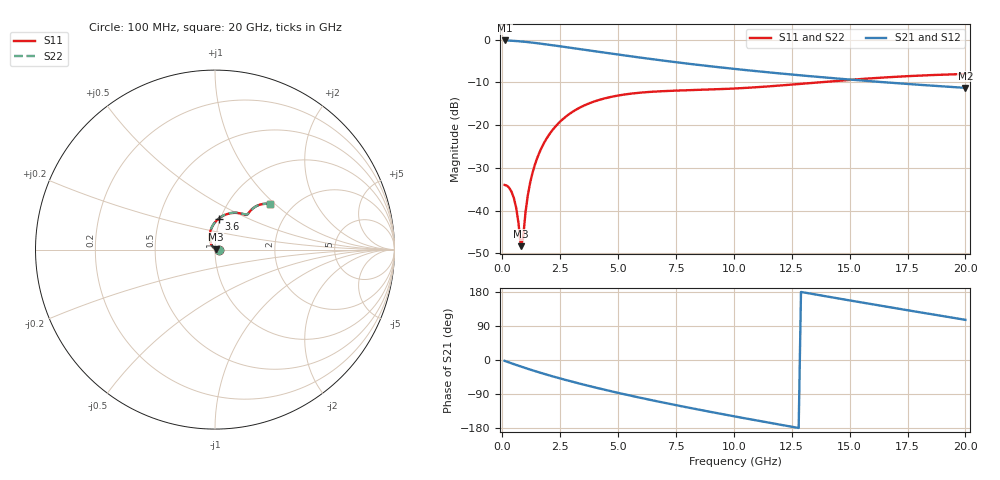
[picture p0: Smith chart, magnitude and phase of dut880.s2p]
! Touchstone file exported from HFSS 2024.1.0
!  File:  C:/UserFiles/LocalFiles/RDL_TSV_Batchsim/temp_RDL_TSV_880_1779929504.aedt
!  Generated:  09:07:09 AM May 28, 2026
!  Design:  RDL_TSV
!  Project:  temp_RDL_TSV_880_1779929504
!  Setup:  Setup1
!  Solution:  Sweep
! Variables:
!  dtsv = 14.95um
!  hbump = 3um
!  htsv = 77.26um
!  ldown = 387.72um
!  lrdl = 566.89um
!  p = 40
!  p1 = 43.4um
!  rhole = 10um
!  subl = 3430.72um
!  t = 450um
!  tdown = 4.4um
!  trdl = 4.41um
!  viad = 10um
!  wdown = 24.57um
!  wrdl = 11.13um
!  xbump = 18um
# GHz S MA R 50.000000
! Terminal data exported
! Port[1] = TM1_1_T1
! Port[2] = TM1_4_T1
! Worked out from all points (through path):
!   200 points, 100 MHz to 20 GHz, reference 50 ohm
!   highest |S21| = -0.18 dB at 100 MHz (marker M1); lowest = -11.3 dB at 20 GHz (marker M2)
!   group delay of S21, straight-line fit = 33.5 ps
!   lowest |S11| = -48.3 dB at 800 MHz (marker M3), VSWR 1.01, Z = 50.3 + j0.215 ohm
!   |S11| at or under -10 dB: start of sweep to 13.63 GHz
!   |S22| runs from -48.4 to -8.0 dB; largest |S21 - S12| = 1e-14
!   S11 on the Smith chart (normalised r, x): 100 MHz: 1.04, -0.00; 3.6 GHz: 0.98, +0.35; 20 GHz: 1.55, +0.93
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0.1  0.01997 -0.3  0.9793 -2.2  0.9793 -2.2  0.01997 -0.3
! Gamma 0 0 0 0
! Port Impedance 50 0 50 0
0.3  0.01846 -3.1  0.975 -6.6  0.975 -6.6  0.01846 -3.1
0.5  0.014 -5.7  0.9683 -10.9  0.9683 -10.9  0.01398 -5.7
0.6  0.01078 -4.6  0.9642 -13.0  0.9642 -13.0  0.01074 -4.5
0.7  0.007121 2.4  0.9596 -15.1  0.9596 -15.1  0.007074 2.5
0.8  0.003836 33.8  0.9545 -17.2  0.9545 -17.2  0.0038 34.7
0.9  0.004771 101.0  0.949 -19.2  0.949 -19.2  0.004821 101.8
1  0.009411 122.5  0.9431 -21.2  0.9431 -21.2  0.0095 122.8
1.2  0.02101 128.4  0.9305 -25.2  0.9305 -25.2  0.02115 128.5
1.4  0.03394 126.1  0.9169 -29.1  0.9169 -29.1  0.03412 126.2
1.6  0.04761 122.1  0.9027 -32.8  0.9027 -32.8  0.04785 122.2
2  0.07581 113.3  0.8734 -40.1  0.8734 -40.1  0.07615 113.4
2.4  0.1035 104.8  0.8439 -47.0  0.8439 -47.0  0.1039 104.8
3.5  0.1681 84.9  0.7656 -64.8  0.7656 -64.8  0.1688 85.0
3.6  0.1729 83.4  0.7588 -66.3  0.7588 -66.3  0.1737 83.4
5.2  0.2267 64.3  0.6587 -89.5  0.6587 -89.5  0.2279 64.3
6.8  0.2488 53.4  0.5759 -110.5  0.5759 -110.5  0.2503 53.4
8.4  0.258 48.5  0.5093 -130.0  0.5093 -130.0  0.2596 48.5
10.1  0.2689 47.4  0.4528 -149.6  0.4528 -149.6  0.2706 47.3
13.4  0.3125 47.4  0.3717 174.2  0.3717 174.2  0.3139 47.3
16.7  0.3641 44.1  0.3146 139.6  0.3146 139.6  0.3654 44.0
20  0.3969 39.4  0.2732 106.0  0.2732 106.0  0.3984 39.4
